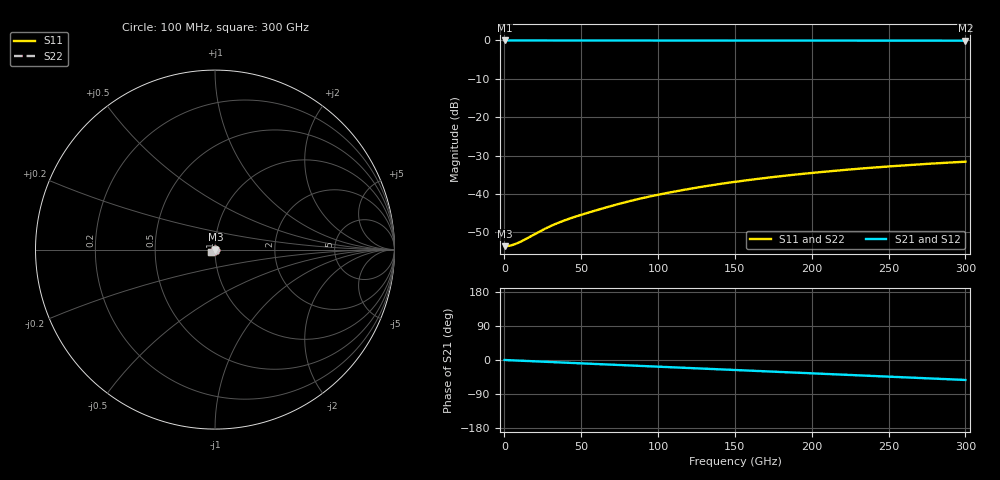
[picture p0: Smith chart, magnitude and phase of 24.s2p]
#  Hz  S  RI  R  50
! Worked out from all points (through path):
!   3000 points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, 100 MHz to 300 GHz, reference 50 ohm
!   highest |S21| = -0.02 dB at 100 MHz (marker M1); lowest = -0.1 dB at 300 GHz (marker M2)
!   group delay of S21, straight-line fit = 487 fs
!   lowest |S11| = -53.6 dB at 100 MHz (marker M3), VSWR 1.00, Z = 50.2 - j0.000259 ohm
!   |S11| at or under -10 dB: start of sweep to end of sweep
!   |S22| runs from -53.6 to -31.7 dB; largest |S21 - S12| = 0.00014
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1e8  0.00209 -2.58e-06  0.998 -0.000316  0.998 -0.000316  0.0021 -2.29e-06
3.9e9  0.00213 -0.000106  0.9978 -0.0123  0.9978 -0.0123  0.00214 -9.57e-05
8e9  0.00226 -0.000256  0.9974 -0.0252  0.9974 -0.0252  0.00226 -0.000235
1.26e10  0.00246 -0.000507  0.9967 -0.0395  0.9967 -0.0395  0.00247 -0.000476
2.45e10  0.00297 -0.00161  0.9939 -0.0759  0.9939 -0.0759  0.00297 -0.00157
3.1e10  0.00308 -0.00239  0.992 -0.0956  0.992 -0.0956  0.00308 -0.00234
3.96e10  0.00301 -0.00344  0.989 -0.1216  0.989 -0.1216  0.00301 -0.00336
5.01e10  0.00276 -0.00461  0.9844 -0.1534  0.9844 -0.1534  0.00276 -0.0045
6.44e10  0.00231 -0.00611  0.9764 -0.1963  0.9764 -0.1963  0.00232 -0.00598
7.71e10  0.00177 -0.00747  0.9678 -0.234  0.9678 -0.234  0.00179 -0.00732
8.82e10  0.00113 -0.00863  0.9592 -0.2667  0.9592 -0.2667  0.00116 -0.00846
1.001e11  0.000319 -0.00979  0.9486 -0.3014  0.9486 -0.3014  0.000362 -0.00959
1.122e11  -0.000613 -0.0109  0.9366 -0.3362  0.9366 -0.3363  -0.000556 -0.0107
1.252e11  -0.00174 -0.012  0.9224 -0.3731  0.9223 -0.3731  -0.00167 -0.0118
1.374e11  -0.00292 -0.0129  0.9077 -0.4072  0.9077 -0.4072  -0.00285 -0.0127
1.501e11  -0.00426 -0.0138  0.891 -0.4421  0.891 -0.4421  -0.00417 -0.0135
1.752e11  -0.00715 -0.015  0.8542 -0.509  0.8542 -0.509  -0.00703 -0.0148
2.001e11  -0.0103 -0.0158  0.8127 -0.5723  0.8127 -0.5724  -0.0101 -0.0155
2.258e11  -0.0136 -0.0159  0.765 -0.6343  0.765 -0.6342  -0.0135 -0.0156
2.501e11  -0.0169 -0.0154  0.7154 -0.6892  0.7154 -0.6892  -0.0167 -0.0151
2.776e11  -0.0204 -0.0142  0.6547 -0.7468  0.6548 -0.7467  -0.0202 -0.0139
3e11  -0.0231 -0.0126  0.6017 -0.7894  0.6016 -0.7895  -0.0228 -0.0124
